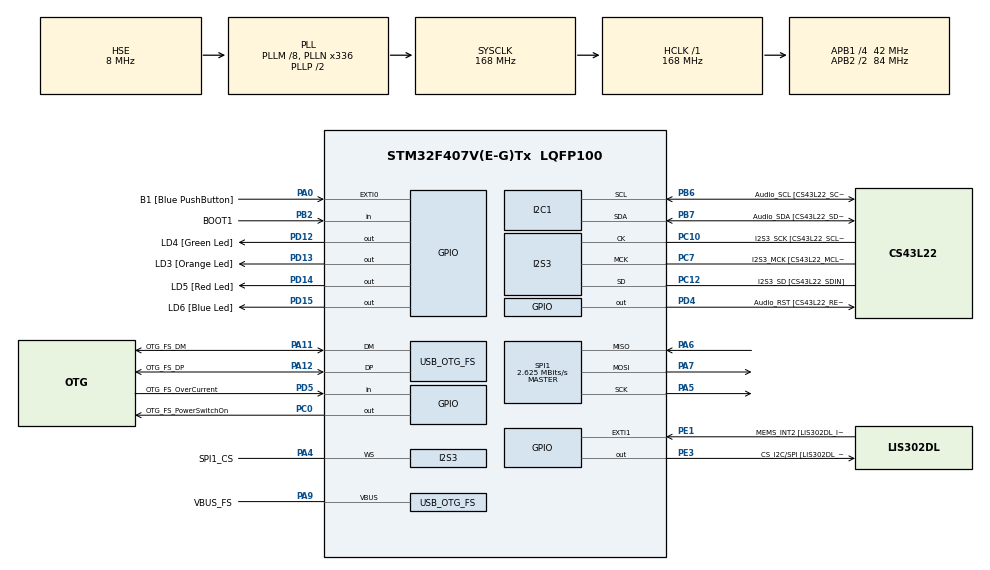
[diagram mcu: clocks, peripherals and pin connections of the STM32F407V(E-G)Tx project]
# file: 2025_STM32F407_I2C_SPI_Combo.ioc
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I2S3.AudioFreq-Half_Duplex_Master=I2S_AUDIOFREQ_96K
I2S3.ErrorAudioFreq=-2.34 %
I2S3.ErrorAudioFreq-Half_Duplex_Master=0.8 %
I2S3.FullDuplexMode=I2S_FULLDUPLEXMODE_DISABLE
I2S3.Instance=SPI$Index
I2S3.RealAudioFreq=93.75 KHz
I2S3.RealAudioFreq-Half_Duplex_Master=96.774 KHz
I2S3.VirtualMode=I2S_MODE_MASTER
Mcu.Family=STM32F4
Mcu.Name=STM32F407V(E-G)Tx
Mcu.Package=LQFP100
NVIC.OTG_FS_IRQn=true\:0\:0\:false\:false\:true\:true\:true\:true
NVIC.PriorityGroup=NVIC_PRIORITYGROUP_0
PA0-WKUP.GPIO_Label=B1 [Blue PushButton]
PA0-WKUP.GPIO_ModeDefaultEXTI=GPIO_MODE_EVT_RISING
PA0-WKUP.GPIO_PuPd=GPIO_NOPULL
PA0-WKUP.Signal=GPXTI0
PA10.GPIO_Label=OTG_FS_ID
PA10.GPIO_Mode=GPIO_MODE_AF_PP
PA10.GPIO_PuPd=GPIO_NOPULL
PA10.GPIO_Speed=GPIO_SPEED_FREQ_LOW
PA10.Signal=USB_OTG_FS_ID
PA11.GPIO_Label=OTG_FS_DM
PA11.GPIO_Mode=GPIO_MODE_AF_PP
PA11.GPIO_PuPd=GPIO_NOPULL
PA11.GPIO_Speed=GPIO_SPEED_FREQ_LOW
PA11.Mode=Host_Only
PA11.Signal=USB_OTG_FS_DM
PA12.GPIO_Label=OTG_FS_DP
PA12.GPIO_Mode=GPIO_MODE_AF_PP
PA12.GPIO_PuPd=GPIO_NOPULL
PA12.GPIO_Speed=GPIO_SPEED_FREQ_LOW
PA12.Mode=Host_Only
PA12.Signal=USB_OTG_FS_DP
PA13.GPIO_Label=SWDIO
PA13.Mode=Serial_Wire
PA13.Signal=SYS_JTMS-SWDIO
PA14.GPIO_Label=SWCLK
PA14.Mode=Serial_Wire
PA14.Signal=SYS_JTCK-SWCLK
PA4.GPIO_Label=SPI1_CS
PA4.GPIO_Mode=GPIO_MODE_AF_PP
PA4.GPIO_PuPd=GPIO_NOPULL
PA4.GPIO_Speed=GPIO_SPEED_FREQ_LOW
PA4.Mode=Half_Duplex_Master
PA4.Signal=I2S3_WS
PA5.Mode=Full_Duplex_Master
PA5.Signal=SPI1_SCK
PA6.Mode=Full_Duplex_Master
PA6.Signal=SPI1_MISO
PA7.Mode=Full_Duplex_Master
PA7.Signal=SPI1_MOSI
PA9.GPIO_Label=VBUS_FS
PA9.GPIO_Mode=GPIO_MODE_INPUT
PA9.GPIO_PuPd=GPIO_NOPULL
PA9.Mode=Activate_VBUS
PA9.Signal=USB_OTG_FS_VBUS
PB10.GPIO_Label=CLK_IN [MP45DT02_CLK]
PB10.GPIO_Mode=GPIO_MODE_AF_PP
PB10.GPIO_PuPd=GPIO_NOPULL
PB10.GPIO_Speed=GPIO_SPEED_FREQ_LOW
PB10.Signal=I2S2_CK
PB2.GPIO_Label=BOOT1
PB2.GPIO_Mode=GPIO_MODE_INPUT
PB2.GPIO_PuPd=GPIO_NOPULL
PB2.Signal=GPIO_Input
PB3.GPIO_Label=SWO
PB3.Signal=SYS_JTDO-SWO
PB6.GPIO_Label=Audio_SCL [CS43L22_SCL]
PB6.GPIO_Mode=GPIO_MODE_AF_OD
PB6.GPIO_Pu=GPIO_PULLUP
PB6.GPIO_PuPd=GPIO_NOPULL
PB6.GPIO_Speed=GPIO_SPEED_FREQ_LOW
PB6.Mode=I2C
PB6.Signal=I2C1_SCL
PB7.GPIO_Label=Audio_SDA [CS43L22_SDA]
PB7.GPIO_Mode=GPIO_MODE_AF_OD
PB7.GPIO_Pu=GPIO_PULLUP
PB7.GPIO_Speed=GPIO_SPEED_FREQ_LOW
PB7.Mode=I2C
PB7.Signal=I2C1_SDA
PC0.GPIO_Label=OTG_FS_PowerSwitchOn
PC0.GPIO_PuPd=GPIO_NOPULL
PC0.GPIO_Speed=GPIO_SPEED_FREQ_LOW
PC0.PinState=GPIO_PIN_SET
PC0.Signal=GPIO_Output
PC10.GPIO_Label=I2S3_SCK [CS43L22_SCLK]
PC10.GPIO_Mode=GPIO_MODE_AF_PP
PC10.GPIO_PuPd=GPIO_NOPULL
PC10.GPIO_Speed=GPIO_SPEED_FREQ_LOW
PC10.Mode=Half_Duplex_Master
PC10.Signal=I2S3_CK
PC12.GPIO_Label=I2S3_SD [CS43L22_SDIN]
PC12.GPIO_Mode=GPIO_MODE_AF_PP
PC12.GPIO_PuPd=GPIO_NOPULL
PC12.GPIO_Speed=GPIO_SPEED_FREQ_LOW
PC12.Mode=Half_Duplex_Master
PC12.Signal=I2S3_SD
PC14-OSC32_IN.GPIO_Label=PC14-OSC32_IN
PC14-OSC32_IN.Mode=LSE-External-Oscillator
PC14-OSC32_IN.Signal=RCC_OSC32_IN
PC15-OSC32_OUT.GPIO_Label=PC15-OSC32_OUT
PC15-OSC32_OUT.Mode=LSE-External-Oscillator
PC15-OSC32_OUT.Signal=RCC_OSC32_OUT
PC3.GPIO_Label=PDM_OUT [MP45DT02_DOUT]
PC3.GPIO_Mode=GPIO_MODE_AF_PP
PC3.GPIO_PuPd=GPIO_NOPULL
PC3.GPIO_Speed=GPIO_SPEED_FREQ_LOW
PC3.Signal=I2S2_SD
PC7.GPIO_Label=I2S3_MCK [CS43L22_MCLK]
PC7.GPIO_Mode=GPIO_MODE_AF_PP
PC7.GPIO_PuPd=GPIO_NOPULL
PC7.GPIO_Speed=GPIO_SPEED_FREQ_LOW
PC7.Mode=Master_Clock_Activated
PC7.Signal=I2S3_MCK
PD12.GPIO_Label=LD4 [Green Led]
PD12.GPIO_PuPd=GPIO_NOPULL
PD12.GPIO_Speed=GPIO_SPEED_FREQ_LOW
PD12.Signal=GPIO_Output
PD13.GPIO_Label=LD3 [Orange Led]
PD13.GPIO_PuPd=GPIO_NOPULL
PD13.GPIO_Speed=GPIO_SPEED_FREQ_LOW
PD13.Signal=GPIO_Output
PD14.GPIO_Label=LD5 [Red Led]
PD14.GPIO_PuPd=GPIO_NOPULL
PD14.GPIO_Speed=GPIO_SPEED_FREQ_LOW
PD14.Signal=GPIO_Output
PD15.GPIO_Label=LD6 [Blue Led]
PD15.GPIO_PuPd=GPIO_NOPULL
PD15.GPIO_Speed=GPIO_SPEED_FREQ_LOW
PD15.Signal=GPIO_Output
PD4.GPIO_Label=Audio_RST [CS43L22_RESET]
PD4.GPIO_PuPd=GPIO_NOPULL
PD4.GPIO_Speed=GPIO_SPEED_FREQ_LOW
PD4.Signal=GPIO_Output
PD5.GPIO_Label=OTG_FS_OverCurrent
PD5.GPIO_Mode=GPIO_MODE_INPUT
PD5.GPIO_PuPd=GPIO_NOPULL
PD5.Signal=GPIO_Input
PE1.GPIO_Label=MEMS_INT2 [LIS302DL_INT2]
PE1.GPIO_ModeDefaultEXTI=GPIO_MODE_EVT_RISING
PE1.GPIO_PuPd=GPIO_NOPULL
PE1.Signal=GPXTI1
PE3.GPIO_Label=CS_I2C/SPI [LIS302DL_CS_I2C/SPI]
PE3.GPIO_PuPd=GPIO_NOPULL
PE3.GPIO_Speed=GPIO_SPEED_FREQ_LOW
PE3.Signal=GPIO_Output
PH0-OSC_IN.GPIO_Label=PH0-OSC_IN
PH0-OSC_IN.Mode=HSE-External-Oscillator
PH0-OSC_IN.Signal=RCC_OSC_IN
PH1-OSC_OUT.GPIO_Label=PH1-OSC_OUT
PH1-OSC_OUT.Mode=HSE-External-Oscillator
PH1-OSC_OUT.Signal=RCC_OSC_OUT
ProjectManager.HeapSize=0x200
ProjectManager.StackSize=0x400
ProjectManager.TargetToolchain=STM32CubeIDE
RCC.48MHZClocksFreq_Value=48000000
RCC.AHBFreq_Value=168000000
RCC.APB1CLKDivider=RCC_HCLK_DIV4
RCC.APB1Freq_Value=42000000
RCC.APB1TimFreq_Value=84000000
RCC.APB2CLKDivider=RCC_HCLK_DIV2
RCC.APB2Freq_Value=84000000
RCC.APB2TimFreq_Value=168000000
RCC.CortexFreq_Value=168000000
RCC.HCLKFreq_Value=168000000
RCC.HSE_VALUE=8000000
RCC.HSI_VALUE=16000000
RCC.PLLM=8
RCC.PLLN=336
RCC.PLLQ=7
RCC.SYSCLKFreq_VALUE=168000000
RCC.SYSCLKSource=RCC_SYSCLKSOURCE_PLLCLK
RCC.VCOOutputFreq_Value=336000000
SPI1.BaudRatePrescaler=SPI_BAUDRATEPRESCALER_32
SPI1.CalculateBaudRate=2.625 MBits/s
SPI1.Direction=SPI_DIRECTION_2LINES
SPI1.Mode=SPI_MODE_MASTER
SPI1.VirtualType=VM_MASTER
USB_HOST.BSP.number=1
USB_HOST.USBH_HandleTypeDef-CDC_FS=hUsbHostFS
USB_HOST.VirtualModeFS=Cdc
USB_HOST0.BSP.STBoard=false
USB_HOST0.BSP.api=Unknown
USB_HOST0.BSP.instance=PC0
USB_HOST0.BSP.ip=GPIO
USB_HOST0.BSP.mode=Output
USB_HOST0.BSP.name=Drive_VBUS_FS
USB_HOST0.BSP.solution=PC0
USB_OTG_FS.VirtualMode=Host_Only
USB_OTG_FS.phy_itface=HCD_PHY_EMBEDDED
VP_USB_HOST_VS_USB_HOST_CDC_FS.Mode=CDC_FS
board=STM32F407G-DISC1

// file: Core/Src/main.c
/* USER CODE BEGIN Header */
/**
  ******************************************************************************
  * @file           : main.c
  * @brief          : Main program body
  ******************************************************************************
  * @attention
  *
  * Copyright (c) 2025 STMicroelectronics.
  * All rights reserved.
  *
  * This software is licensed under terms that can be found in the LICENSE file
  * in the root directory of this software component.
  * If no LICENSE file comes with this software, it is provided AS-IS.
  *
  ******************************************************************************
  */
/* USER CODE END Header */
#include "main.h"
#include "usb_host.h"

/* USER CODE BEGIN Includes */
#include "MAX7219.h"
#include "DS3231.h"
/* USER CODE END Includes */

I2C_HandleTypeDef hi2c1;

I2S_HandleTypeDef hi2s3;

SPI_HandleTypeDef hspi1;

/* USER CODE BEGIN PV */

uint8_t deviceFlag = 0;
DS3231_Time_t currentTime;
uint8_t gCounter;

/* USER CODE END PV */

void SystemClock_Config(void);
static void MX_GPIO_Init(void);
static void MX_I2C1_Init(void);
static void MX_I2S3_Init(void);
static void MX_SPI1_Init(void);
void MX_USB_HOST_Process(void);

int main(void)
{

  /* MCU Configuration--------------------------------------------------------*/

  /* Reset of all peripherals, Initializes the Flash interface and the Systick. */
  HAL_Init();

  /* Configure the system clock */
  SystemClock_Config();

  /* Initialize all configured peripherals */
  MX_GPIO_Init();
  MX_I2C1_Init();
  MX_I2S3_Init();
  MX_SPI1_Init();
  MX_USB_HOST_Init();
  /* USER CODE BEGIN 2 */
  HAL_GPIO_WritePin(GPIOD, GPIO_PIN_12, GPIO_PIN_RESET); // green
    HAL_GPIO_WritePin(GPIOD, GPIO_PIN_14, GPIO_PIN_RESET); //red

    //check if DS3231 is ready
    if(HAL_I2C_IsDeviceReady(&hi2c1, DS3231_ADDR_HAL, 3, 1000) == HAL_OK){
  	  HAL_GPIO_TogglePin(GPIOD, GPIO_PIN_12);
  	  deviceFlag = 1;
  	  DS3231_Time_t setupTime;

  	  setupTime.seconds = 30;
  	  setupTime.minutes = 47;
  	  setupTime.hours = 13;
  	  setupTime.date = 20;
  	  setupTime.month = 5;
  	  setupTime.year = 25;

  	  writeBCDRegister(&hi2c1, DS3231_SECONDS, setupTime.seconds);
  	  writeBCDRegister(&hi2c1, DS3231_MINUTES, setupTime.minutes);
  	  writeBCDRegister(&hi2c1, DS3231_HOURS, setupTime.hours);
  	  writeBCDRegister(&hi2c1, DS3231_DATE, setupTime.date);
  	  writeBCDRegister(&hi2c1, DS3231_CEN_MONTH, setupTime.month);
  	  writeBCDRegister(&hi2c1, DS3231_DEC_YEAR, setupTime.year);
    }
    else{
  	  HAL_GPIO_TogglePin(GPIOD, GPIO_PIN_14);
    }

  spiWriteRegister(&hspi1, SPI1_CS_GPIO_Port, SPI1_CS_Pin, DISPLAY_TEST, 0x01); // runn test- all LED on
    HAL_Delay(1000); // sleep one second
    spiWriteRegister(&hspi1, SPI1_CS_GPIO_Port, SPI1_CS_Pin, DISPLAY_TEST, 0x00); // finish test

    spiWriteRegister(&hspi1, SPI1_CS_GPIO_Port, SPI1_CS_Pin, DECODE_MODE, 0x00); // Disable BCD mode
    spiWriteRegister(&hspi1, SPI1_CS_GPIO_Port, SPI1_CS_Pin, INTENSITY, 0x01); // use lowest intensity
    spiWriteRegister(&hspi1, SPI1_CS_GPIO_Port, SPI1_CS_Pin, SCAN_LIMIT, 0x0F); // scan all digits
    spiWriteRegister(&hspi1, SPI1_CS_GPIO_Port, SPI1_CS_Pin, SHUTDOWN, 0x01); // Turn on chip

  /* USER CODE END 2 */

  /* Infinite loop */
  /* USER CODE BEGIN WHILE */
  while (1)
  {
	  if (deviceFlag == 1){
	 		  currentTime.seconds = readBCDRegister(&hi2c1, DS3231_SECONDS);
	 		  currentTime.minutes = readBCDRegister(&hi2c1, DS3231_MINUTES);
	 		  currentTime.hours = readBCDRegister(&hi2c1, DS3231_HOURS);
	 		  currentTime.date = readBCDRegister(&hi2c1, DS3231_DATE);
	 		  currentTime.month = readBCDRegister(&hi2c1, DS3231_CEN_MONTH);
	 		  currentTime.year = readBCDRegister(&hi2c1, DS3231_DEC_YEAR);
	 	  }
	  //Display number
	  	  for(int i =1; i<9; i++){
	  		  spiWriteRegister(&hspi1, SPI1_CS_GPIO_Port, SPI1_CS_Pin, i, NUMBERS[gCounter][i-1]);
	  	  }
	  	  gCounter =currentTime.seconds;

	  	  HAL_Delay(100);
    /* USER CODE END WHILE */
    MX_USB_HOST_Process();

  }
}

void SystemClock_Config(void)
{
  RCC_OscInitTypeDef RCC_OscInitStruct = {0};
  RCC_ClkInitTypeDef RCC_ClkInitStruct = {0};

  /** Configure the main internal regulator output voltage
  */
  __HAL_RCC_PWR_CLK_ENABLE();
  __HAL_PWR_VOLTAGESCALING_CONFIG(PWR_REGULATOR_VOLTAGE_SCALE1);

  /** Initializes the RCC Oscillators according to the specified parameters
  * in the RCC_OscInitTypeDef structure.
  */
  RCC_OscInitStruct.OscillatorType = RCC_OSCILLATORTYPE_HSE;
  RCC_OscInitStruct.HSEState = RCC_HSE_ON;
  RCC_OscInitStruct.PLL.PLLState = RCC_PLL_ON;
  RCC_OscInitStruct.PLL.PLLSource = RCC_PLLSOURCE_HSE;
  RCC_OscInitStruct.PLL.PLLM = 8;
  RCC_OscInitStruct.PLL.PLLN = 336;
  RCC_OscInitStruct.PLL.PLLP = RCC_PLLP_DIV2;
  RCC_OscInitStruct.PLL.PLLQ = 7;
  if (HAL_RCC_OscConfig(&RCC_OscInitStruct) != HAL_OK)
  {
    Error_Handler();
  }

  /** Initializes the CPU, AHB and APB buses clocks
  */
  RCC_ClkInitStruct.ClockType = RCC_CLOCKTYPE_HCLK|RCC_CLOCKTYPE_SYSCLK
                              |RCC_CLOCKTYPE_PCLK1|RCC_CLOCKTYPE_PCLK2;
  RCC_ClkInitStruct.SYSCLKSource = RCC_SYSCLKSOURCE_PLLCLK;
  RCC_ClkInitStruct.AHBCLKDivider = RCC_SYSCLK_DIV1;
  RCC_ClkInitStruct.APB1CLKDivider = RCC_HCLK_DIV4;
  RCC_ClkInitStruct.APB2CLKDivider = RCC_HCLK_DIV2;

  if (HAL_RCC_ClockConfig(&RCC_ClkInitStruct, FLASH_LATENCY_5) != HAL_OK)
  {
    Error_Handler();
  }
}

static void MX_I2C1_Init(void)
{

  hi2c1.Instance = I2C1;
  hi2c1.Init.ClockSpeed = 100000;
  hi2c1.Init.DutyCycle = I2C_DUTYCYCLE_2;
  hi2c1.Init.OwnAddress1 = 0;
  hi2c1.Init.AddressingMode = I2C_ADDRESSINGMODE_7BIT;
  hi2c1.Init.DualAddressMode = I2C_DUALADDRESS_DISABLE;
  hi2c1.Init.OwnAddress2 = 0;
  hi2c1.Init.GeneralCallMode = I2C_GENERALCALL_DISABLE;
  hi2c1.Init.NoStretchMode = I2C_NOSTRETCH_DISABLE;
  if (HAL_I2C_Init(&hi2c1) != HAL_OK)
  {
    Error_Handler();
  }

}

static void MX_I2S3_Init(void)
{

  hi2s3.Instance = SPI3;
  hi2s3.Init.Mode = I2S_MODE_MASTER_TX;
  hi2s3.Init.Standard = I2S_STANDARD_PHILIPS;
  hi2s3.Init.DataFormat = I2S_DATAFORMAT_16B;
  hi2s3.Init.MCLKOutput = I2S_MCLKOUTPUT_ENABLE;
  hi2s3.Init.AudioFreq = I2S_AUDIOFREQ_96K;
  hi2s3.Init.CPOL = I2S_CPOL_LOW;
  hi2s3.Init.ClockSource = I2S_CLOCK_PLL;
  hi2s3.Init.FullDuplexMode = I2S_FULLDUPLEXMODE_DISABLE;
  if (HAL_I2S_Init(&hi2s3) != HAL_OK)
  {
    Error_Handler();
  }

}

static void MX_SPI1_Init(void)
{

  /* SPI1 parameter configuration*/
  hspi1.Instance = SPI1;
  hspi1.Init.Mode = SPI_MODE_MASTER;
  hspi1.Init.Direction = SPI_DIRECTION_2LINES;
  hspi1.Init.DataSize = SPI_DATASIZE_8BIT;
  hspi1.Init.CLKPolarity = SPI_POLARITY_LOW;
  hspi1.Init.CLKPhase = SPI_PHASE_1EDGE;
  hspi1.Init.NSS = SPI_NSS_SOFT;
  hspi1.Init.BaudRatePrescaler = SPI_BAUDRATEPRESCALER_32;
  hspi1.Init.FirstBit = SPI_FIRSTBIT_MSB;
  hspi1.Init.TIMode = SPI_TIMODE_DISABLE;
  hspi1.Init.CRCCalculation = SPI_CRCCALCULATION_DISABLE;
  hspi1.Init.CRCPolynomial = 10;
  if (HAL_SPI_Init(&hspi1) != HAL_OK)
  {
    Error_Handler();
  }

}

static void MX_GPIO_Init(void)
{
  GPIO_InitTypeDef GPIO_InitStruct = {0};

  /* GPIO Ports Clock Enable */
  __HAL_RCC_GPIOE_CLK_ENABLE();
  __HAL_RCC_GPIOC_CLK_ENABLE();
  __HAL_RCC_GPIOH_CLK_ENABLE();
  __HAL_RCC_GPIOA_CLK_ENABLE();
  __HAL_RCC_GPIOB_CLK_ENABLE();
  __HAL_RCC_GPIOD_CLK_ENABLE();

  /*Configure GPIO pin Output Level */
  HAL_GPIO_WritePin(CS_I2C_SPI_GPIO_Port, CS_I2C_SPI_Pin, GPIO_PIN_RESET);

  /*Configure GPIO pin Output Level */
  HAL_GPIO_WritePin(OTG_FS_PowerSwitchOn_GPIO_Port, OTG_FS_PowerSwitchOn_Pin, GPIO_PIN_SET);

  /*Configure GPIO pin Output Level */
  HAL_GPIO_WritePin(GPIOD, LD4_Pin|LD3_Pin|LD5_Pin|LD6_Pin
                          |Audio_RST_Pin, GPIO_PIN_RESET);

  /*Configure GPIO pin : CS_I2C_SPI_Pin */
  GPIO_InitStruct.Pin = CS_I2C_SPI_Pin;
  GPIO_InitStruct.Mode = GPIO_MODE_OUTPUT_PP;
  GPIO_InitStruct.Pull = GPIO_NOPULL;
  GPIO_InitStruct.Speed = GPIO_SPEED_FREQ_LOW;
  HAL_GPIO_Init(CS_I2C_SPI_GPIO_Port, &GPIO_InitStruct);

  /*Configure GPIO pin : OTG_FS_PowerSwitchOn_Pin */
  GPIO_InitStruct.Pin = OTG_FS_PowerSwitchOn_Pin;
  GPIO_InitStruct.Mode = GPIO_MODE_OUTPUT_PP;
  GPIO_InitStruct.Pull = GPIO_NOPULL;
  GPIO_InitStruct.Speed = GPIO_SPEED_FREQ_LOW;
  HAL_GPIO_Init(OTG_FS_PowerSwitchOn_GPIO_Port, &GPIO_InitStruct);

  /*Configure GPIO pin : PDM_OUT_Pin */
  GPIO_InitStruct.Pin = PDM_OUT_Pin;
  GPIO_InitStruct.Mode = GPIO_MODE_AF_PP;
  GPIO_InitStruct.Pull = GPIO_NOPULL;
  GPIO_InitStruct.Speed = GPIO_SPEED_FREQ_LOW;
  GPIO_InitStruct.Alternate = GPIO_AF5_SPI2;
  HAL_GPIO_Init(PDM_OUT_GPIO_Port, &GPIO_InitStruct);

  /*Configure GPIO pin : B1_Pin */
  GPIO_InitStruct.Pin = B1_Pin;
  GPIO_InitStruct.Mode = GPIO_MODE_EVT_RISING;
  GPIO_InitStruct.Pull = GPIO_NOPULL;
  HAL_GPIO_Init(B1_GPIO_Port, &GPIO_InitStruct);

  /*Configure GPIO pin : BOOT1_Pin */
  GPIO_InitStruct.Pin = BOOT1_Pin;
  GPIO_InitStruct.Mode = GPIO_MODE_INPUT;
  GPIO_InitStruct.Pull = GPIO_NOPULL;
  HAL_GPIO_Init(BOOT1_GPIO_Port, &GPIO_InitStruct);

  /*Configure GPIO pin : CLK_IN_Pin */
  GPIO_InitStruct.Pin = CLK_IN_Pin;
  GPIO_InitStruct.Mode = GPIO_MODE_AF_PP;
  GPIO_InitStruct.Pull = GPIO_NOPULL;
  GPIO_InitStruct.Speed = GPIO_SPEED_FREQ_LOW;
  GPIO_InitStruct.Alternate = GPIO_AF5_SPI2;
  HAL_GPIO_Init(CLK_IN_GPIO_Port, &GPIO_InitStruct);

  /*Configure GPIO pins : LD4_Pin LD3_Pin LD5_Pin LD6_Pin
                           Audio_RST_Pin */
  GPIO_InitStruct.Pin = LD4_Pin|LD3_Pin|LD5_Pin|LD6_Pin
                          |Audio_RST_Pin;
  GPIO_InitStruct.Mode = GPIO_MODE_OUTPUT_PP;
  GPIO_InitStruct.Pull = GPIO_NOPULL;
  GPIO_InitStruct.Speed = GPIO_SPEED_FREQ_LOW;
  HAL_GPIO_Init(GPIOD, &GPIO_InitStruct);

  /*Configure GPIO pin : OTG_FS_OverCurrent_Pin */
  GPIO_InitStruct.Pin = OTG_FS_OverCurrent_Pin;
  GPIO_InitStruct.Mode = GPIO_MODE_INPUT;
  GPIO_InitStruct.Pull = GPIO_NOPULL;
  HAL_GPIO_Init(OTG_FS_OverCurrent_GPIO_Port, &GPIO_InitStruct);

  /*Configure GPIO pin : MEMS_INT2_Pin */
  GPIO_InitStruct.Pin = MEMS_INT2_Pin;
  GPIO_InitStruct.Mode = GPIO_MODE_EVT_RISING;
  GPIO_InitStruct.Pull = GPIO_NOPULL;
  HAL_GPIO_Init(MEMS_INT2_GPIO_Port, &GPIO_InitStruct);

}

void Error_Handler(void)
{
  __disable_irq();
  while (1)
  {
  }
}
